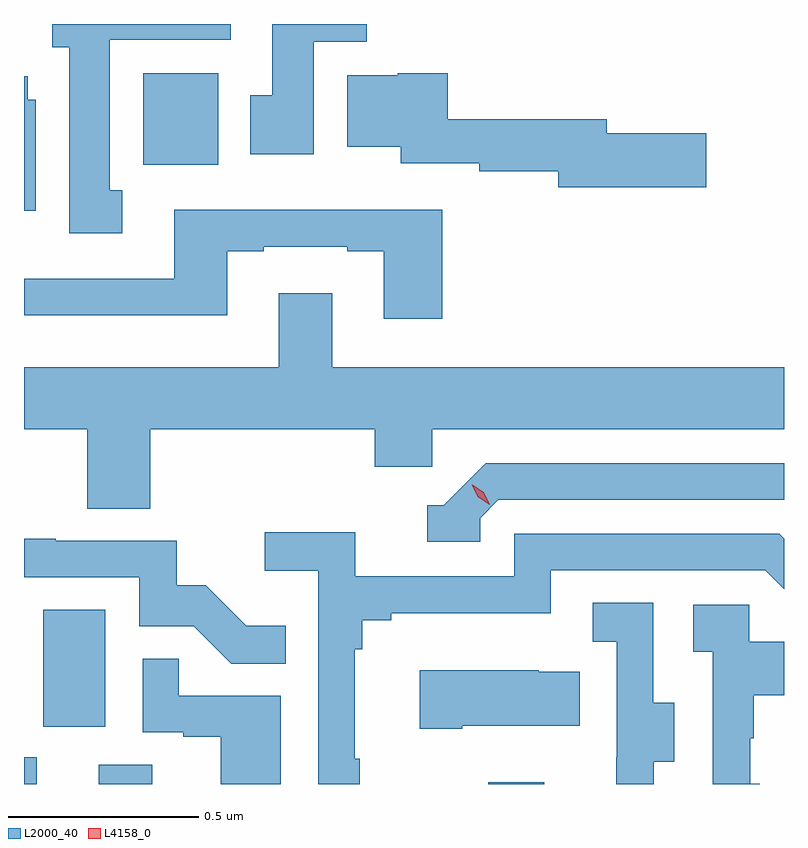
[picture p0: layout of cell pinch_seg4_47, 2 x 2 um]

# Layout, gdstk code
import gdstk
lib = gdstk.Library(unit=1e-6, precision=1e-09)
def R(c, l, rs):  # rectangles x0, y0, x1, y1
    for r in rs: c.add(gdstk.rectangle(r[:2], r[2:], *l))
def P(c, l, *ps):  # polygons
    for p in ps: c.add(gdstk.Polygon(p, *l))
L2000_40 = (2000, 40)
L4158_0 = (4158, 0)

pinch_seg4_47 = lib.new_cell('pinch_seg4_47')
R(pinch_seg4_47, L2000_40, [(1120.092,819.863,1120.126,819.933), (1120.289,819.863,1120.429,819.914), (1121.314,819.863,1121.461,819.868), (1120.142,820.014,1120.306,820.321), (1120.406,821.492,1120.603,821.734)])
P(pinch_seg4_47, L2000_40, [(1120.855,821.816),(1120.994,821.816),(1120.994,821.863),(1120.745,821.863),(1120.745,821.676),(1120.688,821.676),(1120.688,821.52),(1120.855,821.52)],
  [(1120.351,821.426),(1120.318,821.426),(1120.318,821.822),(1120.636,821.822),(1120.636,821.863),(1120.166,821.863),(1120.166,821.802),(1120.211,821.802),(1120.211,821.313),(1120.351,821.313)],
  [(1121.887,821.576),(1121.626,821.576),(1121.626,821.612),(1121.207,821.612),(1121.207,821.734),(1121.076,821.734),(1121.076,821.728),(1120.943,821.728),(1120.943,821.54),(1121.084,821.54),(1121.084,821.496),(1121.29,821.496),(1121.29,821.476),(1121.498,821.476),(1121.498,821.434),(1121.887,821.434)],
  [(1120.123,821.664),(1120.102,821.664),(1120.102,821.725),(1120.092,821.725),(1120.092,821.372),(1120.123,821.372)],
  [(1121.192,821.374),(1120.487,821.374),(1120.487,821.193),(1120.092,821.193),(1120.092,821.096),(1120.627,821.096),(1120.627,821.265),(1120.723,821.265),(1120.723,821.277),(1120.943,821.277),(1120.943,821.265),(1121.039,821.265),(1121.039,821.088),(1121.192,821.088)],
  [(1120.424,820.796),(1121.015,820.796),(1121.015,820.698),(1121.166,820.698),(1121.166,820.796),(1122.092,820.796),(1122.092,820.96),(1120.903,820.96),(1120.903,821.155),(1120.763,821.155),(1120.763,820.96),(1120.092,820.96),(1120.092,820.796),(1120.259,820.796),(1120.259,820.588),(1120.424,820.588)],
  [(1121.292,820.563),(1121.34,820.611),(1122.092,820.611),(1122.092,820.707),(1121.307,820.707),(1121.196,820.596),(1121.153,820.596),(1121.153,820.5),(1121.292,820.5)],
  [(1120.975,819.929),(1120.963,819.929),(1120.963,820.217),(1120.982,820.217),(1120.982,820.294),(1121.059,820.294),(1121.059,820.313),(1121.478,820.313),(1121.478,820.425),(1122.042,820.425),(1122.092,820.375),(1122.092,820.508),(1122.079,820.521),(1121.382,820.521),(1121.382,820.41),(1120.964,820.41),(1120.964,820.526),(1120.725,820.526),(1120.725,820.424),(1120.866,820.424),(1120.866,819.863),(1120.975,819.863)],
  [(1120.781,820.279),(1120.677,820.279),(1120.57,820.386),(1120.494,820.386),(1120.494,820.503),(1120.175,820.503),(1120.175,820.508),(1120.092,820.508),(1120.092,820.407),(1120.395,820.407),(1120.395,820.278),(1120.539,820.278),(1120.637,820.18),(1120.781,820.18)],
  [(1121.749,819.922),(1121.803,819.922),(1121.803,820.077),(1121.748,820.077),(1121.748,820.34),(1121.589,820.34),(1121.589,820.237),(1121.652,820.237),(1121.652,819.933),(1121.651,819.933),(1121.651,819.863),(1121.749,819.863)],
  [(1122.028,819.864),(1122.003,819.864),(1122.003,819.983),(1122.013,819.983),(1122.013,820.097),(1122.092,820.097),(1122.092,820.237),(1122,820.237),(1122,820.335),(1121.853,820.335),(1121.853,820.211),(1121.904,820.211),(1121.904,819.863),(1122.028,819.863)],
  [(1120.768,820.095),(1120.499,820.095),(1120.499,820.193),(1120.404,820.193),(1120.404,819.999),(1120.511,819.999),(1120.511,819.987),(1120.61,819.987),(1120.61,819.863),(1120.768,819.863)],
  [(1121.245,820.016),(1121.555,820.016),(1121.555,820.159),(1121.447,820.159),(1121.447,820.162),(1121.133,820.162),(1121.133,820.009),(1121.245,820.009)])
P(pinch_seg4_47, L4158_0, [(1121.318,820.598),(1121.287,820.618),(1121.27,820.65),(1121.27,820.65),(1121.271,820.65),(1121.302,820.631),(1121.318,820.599),(1121.318,820.598)])

lib.write_gds('pinch_seg4_47.gds')
